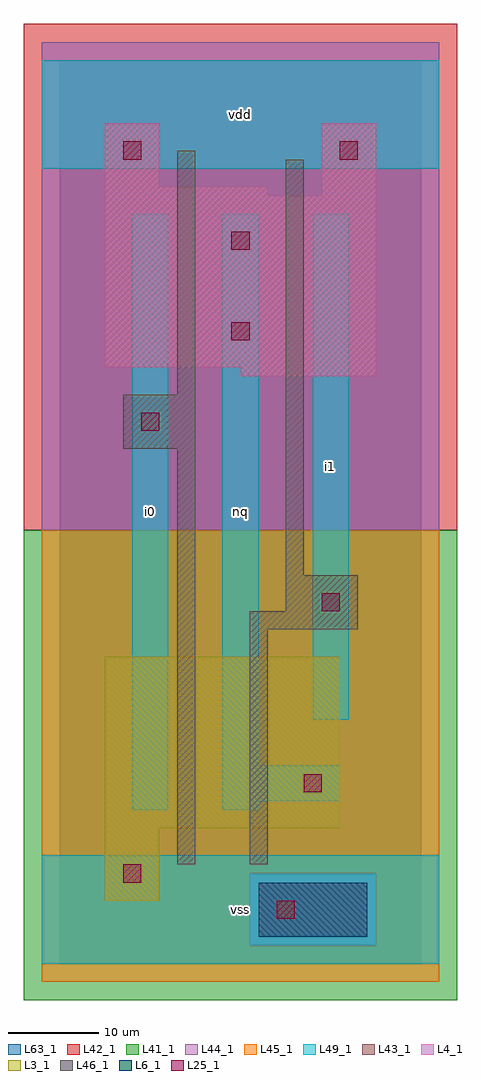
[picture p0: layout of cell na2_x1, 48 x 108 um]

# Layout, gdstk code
import gdstk
lib = gdstk.Library(unit=1e-6, precision=1e-09)
def R(c, l, rs):  # rectangles x0, y0, x1, y1
    for r in rs: c.add(gdstk.rectangle(r[:2], r[2:], *l))
L3_1 = (3, 1)
L4_1 = (4, 1)
L6_1 = (6, 1)
L25_1 = (25, 1)
L41_1 = (41, 1)
L42_1 = (42, 1)
L43_1 = (43, 1)
L44_1 = (44, 1)
L45_1 = (45, 1)
L46_1 = (46, 1)
L49_1 = (49, 1)
L63_1 = (63, 1)

na2_x1 = lib.new_cell('na2_x1')
R(na2_x1, L3_1, [(5,7,11,15), (5,15,31,34)])
R(na2_x1, L4_1, [(20,65,35,66), (5,66,35,85), (5,85,23,86), (29,85,35,93), (5,86,11,93)])
R(na2_x1, L6_1, [(22,3,34,9), (22,3,34,9)])
R(na2_x1, L25_1, [(24,5,26,7), (7,9,9,11), (27,19,29,21), (29,39,31,41), (9,59,11,61), (19,69,21,71), (19,79,21,81), (7,89,9,91), (31,89,33,91)])
R(na2_x1, L41_1, [(-4,-4,44,48)])
R(na2_x1, L42_1, [(-4,48,44,104)])
R(na2_x1, L43_1, [(22,3,34,9), (5,7,11,15), (5,15,31,34), (20,65,35,66), (5,66,35,85), (5,85,23,86), (29,85,35,93), (5,86,11,93)])
R(na2_x1, L44_1, [(21,2,35,10), (-2,48,42,102)])
R(na2_x1, L45_1, [(-2,-2,42,2), (-2,2,21,10), (35,2,42,10), (-2,10,42,48)])
R(na2_x1, L46_1, [(13,11,15,57), (21,11,23,37), (21,37,33,39), (25,39,33,43), (25,43,27,89), (7,57,15,63), (13,63,15,90)])
R(na2_x1, L49_1, [(-2,0,42,12), (8,17,12,83), (18,17,22,18), (18,18,31,22), (18,22,22,83), (28,27,32,83), (-2,88,42,100)])
R(na2_x1, L63_1, [(0,0,40,100)])
na2_x1.add(gdstk.Label('i0', (10,50), layer=49, texttype=1))
na2_x1.add(gdstk.Label('vss', (20,6), layer=49, texttype=1))
na2_x1.add(gdstk.Label('nq', (20,50), layer=49, texttype=1))
na2_x1.add(gdstk.Label('vdd', (20,94), layer=49, texttype=1))
na2_x1.add(gdstk.Label('i1', (30,55), layer=49, texttype=1))

lib.write_gds('na2_x1.gds')
